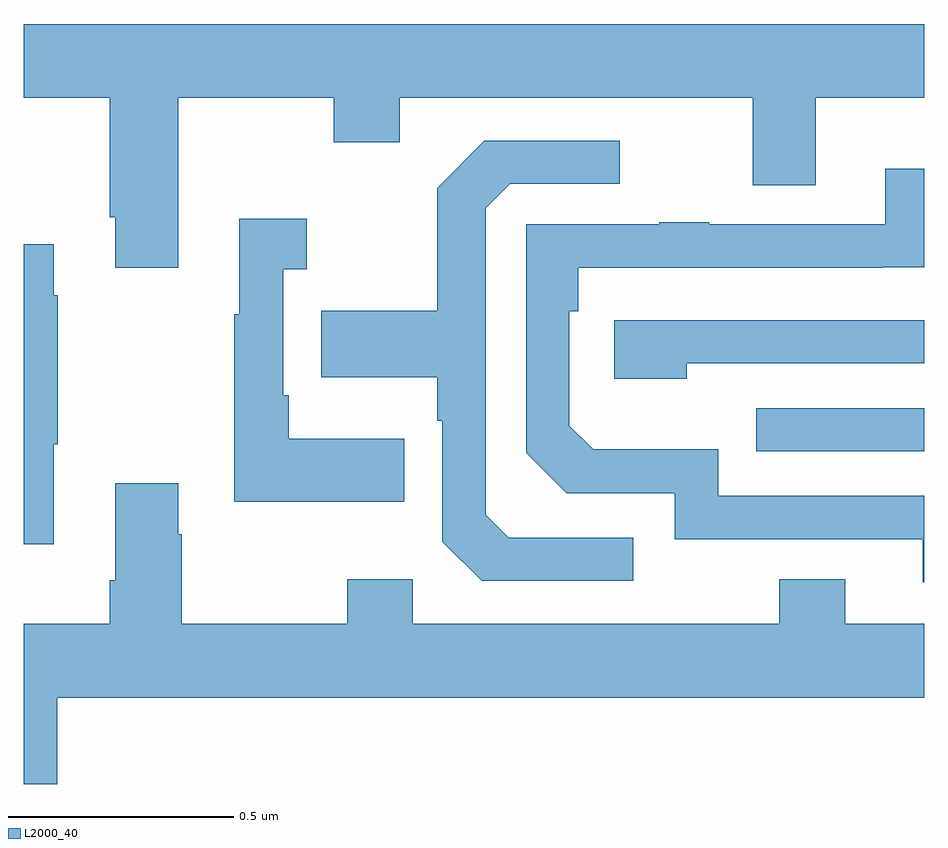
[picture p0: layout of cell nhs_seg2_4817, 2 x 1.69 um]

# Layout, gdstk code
import gdstk
lib = gdstk.Library(unit=1e-6, precision=1e-09)
def R(c, l, rs):  # rectangles x0, y0, x1, y1
    for r in rs: c.add(gdstk.rectangle(r[:2], r[2:], *l))
def P(c, l, *ps):  # polygons
    for p in ps: c.add(gdstk.Polygon(p, *l))
L2000_40 = (2000, 40)

nhs_seg2_4817 = lib.new_cell('nhs_seg2_4817')
R(nhs_seg2_4817, L2000_40, [(172.627,625.539,173,625.635)])
P(nhs_seg2_4817, L2000_40, [(171.343,626.324),(171.688,626.324),(171.688,626.225),(171.835,626.225),(171.835,626.324),(172.619,626.324),(172.619,626.13),(172.759,626.13),(172.759,626.324),(173,626.324),(173,626.488),(171,626.488),(171,626.324),(171.191,626.324),(171.191,626.059),(171.203,626.059),(171.203,625.947),(171.343,625.947)],
  [(172.354,625.347),(172.077,625.347),(172.026,625.398),(172.026,626.079),(172.08,626.133),(172.324,626.133),(172.324,626.229),(172.023,626.229),(171.918,626.123),(171.918,625.851),(171.661,625.851),(171.661,625.703),(171.918,625.703),(171.918,625.607),(171.93,625.607),(171.93,625.338),(172.017,625.251),(172.354,625.251)],
  [(173,625.44),(172.542,625.44),(172.542,625.543),(172.265,625.543),(172.212,625.596),(172.212,625.85),(172.232,625.85),(172.232,625.947),(172.907,625.947),(172.907,625.948),(173,625.948),(173,626.167),(172.913,626.167),(172.913,626.043),(172.523,626.043),(172.523,626.048),(172.411,626.048),(172.411,626.043),(172.116,626.043),(172.116,625.536),(172.206,625.446),(172.446,625.446),(172.446,625.344),(172.997,625.344),(172.997,625.248),(173,625.248)],
  [(171.845,625.567),(171.589,625.567),(171.589,625.663),(171.576,625.663),(171.576,625.943),(171.628,625.943),(171.628,626.056),(171.479,626.056),(171.479,625.843),(171.468,625.843),(171.468,625.427),(171.845,625.427)],
  [(171.067,625.555),(171.075,625.555),(171.075,625.886),(171.067,625.886),(171.067,625.999),(171,625.999),(171,625.332),(171.067,625.332)],
  [(172.472,625.734),(173,625.734),(173,625.83),(172.311,625.83),(172.311,625.7),(172.472,625.7)],
  [(171.074,624.992),(173,624.992),(173,625.156),(172.825,625.156),(172.825,625.255),(172.678,625.255),(172.678,625.156),(171.864,625.156),(171.864,625.255),(171.718,625.255),(171.718,625.156),(171.351,625.156),(171.351,625.355),(171.343,625.355),(171.343,625.468),(171.203,625.468),(171.203,625.252),(171.191,625.252),(171.191,625.156),(171,625.156),(171,624.8),(171.074,624.8)])

lib.write_gds('nhs_seg2_4817.gds')
